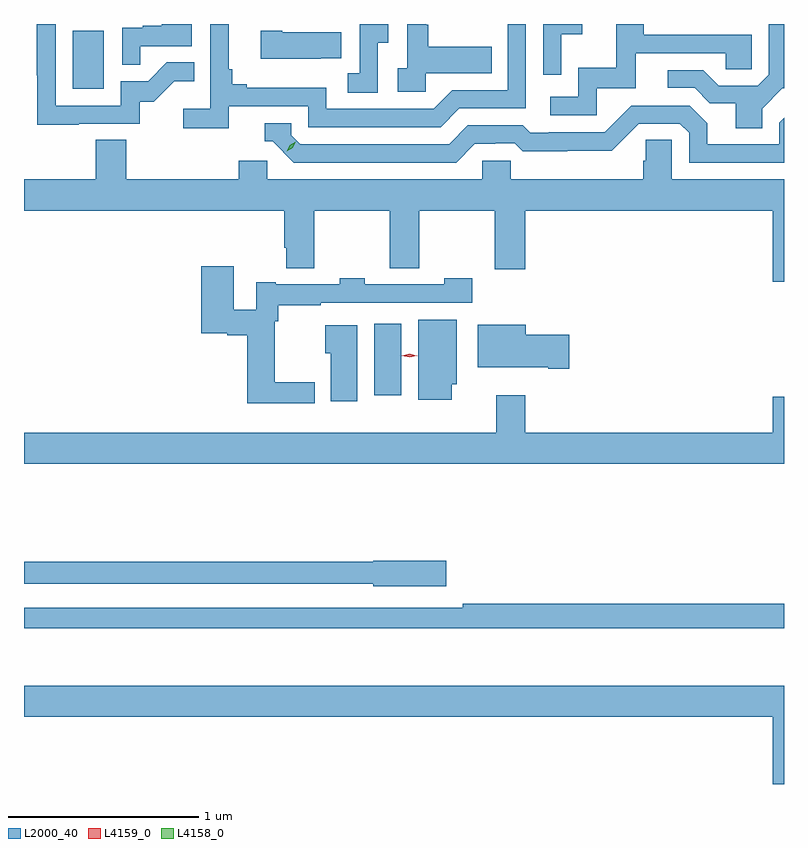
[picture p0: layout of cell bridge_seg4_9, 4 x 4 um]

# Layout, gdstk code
import gdstk
lib = gdstk.Library(unit=1e-6, precision=1e-09)
def R(c, l, rs):  # rectangles x0, y0, x1, y1
    for r in rs: c.add(gdstk.rectangle(r[:2], r[2:], *l))
def P(c, l, *ps):  # polygons
    for p in ps: c.add(gdstk.Polygon(p, *l))
L2000_40 = (2000, 40)
L4158_0 = (4158, 0)
L4159_0 = (4159, 0)

bridge_seg4_9 = lib.new_cell('bridge_seg4_9')
R(bridge_seg4_9, L2000_40, [(894.179,798.513,894.322,798.889), (892.592,800.124,892.756,800.431)])
P(bridge_seg4_9, L2000_40, [(893.414,800.034),(893.832,800.034),(893.832,799.923),(894.529,799.923),(894.628,800.022),(894.978,800.022),(894.978,800.466),(894.882,800.466),(894.882,800.118),(894.591,800.118),(894.492,800.019),(893.928,800.019),(893.928,800.131),(893.509,800.131),(893.509,800.15),(893.432,800.15),(893.432,800.227),(893.413,800.227),(893.413,800.466),(893.316,800.466),(893.316,800.02),(893.175,800.02),(893.175,799.918),(893.414,799.918)],
  [(892.625,799.941),(892.944,799.941),(892.944,800.058),(893.02,800.058),(893.127,800.165),(893.231,800.165),(893.231,800.264),(893.087,800.264),(892.989,800.166),(892.845,800.166),(892.845,800.037),(892.503,800.037),(892.503,800.466),(892.402,800.466),(892.402,800.197),(892.407,800.197),(892.407,799.936),(892.625,799.936)],
  [(892.949,800.349),(893.218,800.349),(893.218,800.466),(893.06,800.466),(893.06,800.458),(892.961,800.458),(892.961,800.445),(892.854,800.445),(892.854,800.251),(892.949,800.251)],
  [(896.221,800.02),(896.328,800.127),(896.336,800.127),(896.336,800.466),(896.256,800.466),(896.256,800.199),(896.199,800.142),(895.993,800.142),(895.912,800.223),(895.725,800.223),(895.725,800.13),(895.866,800.13),(895.946,800.05),(896.081,800.05),(896.081,799.918),(896.221,799.918)],
  [(894.198,800.368),(894.253,800.368),(894.253,800.466),(894.102,800.466),(894.102,800.207),(894.039,800.207),(894.039,800.104),(894.198,800.104)],
  [(894.45,800.207),(894.797,800.207),(894.797,800.347),(894.463,800.347),(894.463,800.462),(894.453,800.462),(894.453,800.466),(894.354,800.466),(894.354,800.234),(894.303,800.234),(894.303,800.109),(894.45,800.109)],
  [(895.164,800.411),(895.274,800.411),(895.274,800.466),(895.068,800.466),(895.068,800.199),(895.164,800.199)],
  [(895.35,800.127),(895.555,800.127),(895.555,800.313),(896.029,800.313),(896.029,800.229),(896.166,800.229),(896.166,800.409),(895.597,800.409),(895.597,800.466),(895.453,800.466),(895.453,800.236),(895.254,800.236),(895.254,800.082),(895.107,800.082),(895.107,799.986),(895.35,799.986)],
  [(893.897,800.285),(894.005,800.285),(894.005,800.422),(893.695,800.422),(893.695,800.43),(893.583,800.43),(893.583,800.282),(893.897,800.282)],
  [(894.709,799.836),(894.816,799.836),(894.816,799.839),(894.919,799.839),(894.961,799.797),(895.194,799.797),(895.194,799.799),(895.43,799.799),(895.572,799.941),(895.788,799.941),(895.836,799.893),(895.836,799.737),(896.336,799.737),(896.336,799.973),(896.31,799.947),(896.31,799.833),(895.933,799.833),(895.933,799.943),(895.839,800.037),(895.533,800.037),(895.392,799.896),(895.099,799.896),(895.099,799.893),(895,799.893),(894.961,799.932),(894.672,799.932),(894.573,799.833),(893.79,799.833),(893.742,799.881),(893.742,799.944),(893.603,799.944),(893.603,799.848),(893.646,799.848),(893.757,799.737),(894.61,799.737)],
  [(896.336,799.648),(895.746,799.648),(895.746,799.856),(895.609,799.856),(895.609,799.746),(895.595,799.746),(895.595,799.648),(894.897,799.648),(894.897,799.746),(894.747,799.746),(894.747,799.648),(893.616,799.648),(893.616,799.746),(893.465,799.746),(893.465,799.648),(892.874,799.648),(892.874,799.856),(892.714,799.856),(892.714,799.648),(892.336,799.648),(892.336,799.484),(893.705,799.484),(893.705,799.288),(893.717,799.288),(893.717,799.18),(893.864,799.18),(893.864,799.484),(894.262,799.484),(894.262,799.18),(894.416,799.18),(894.416,799.484),(894.814,799.484),(894.814,799.176),(894.974,799.176),(894.974,799.484),(896.276,799.484),(896.276,799.11),(896.336,799.11)],
  [(893.866,798.58),(893.656,798.58),(893.656,798.902),(893.675,798.902),(893.675,798.987),(893.897,798.987),(893.897,798.999),(894.694,798.999),(894.694,799.128),(894.549,799.128),(894.549,799.095),(894.129,799.095),(894.129,799.128),(893.997,799.128),(893.997,799.095),(893.662,799.095),(893.662,799.108),(893.559,799.108),(893.559,798.962),(893.44,798.962),(893.44,799.192),(893.27,799.192),(893.27,798.839),(893.406,798.839),(893.406,798.827),(893.51,798.827),(893.51,798.47),(893.866,798.47)],
  [(894.586,798.57),(894.613,798.57),(894.613,798.91),(894.41,798.91),(894.41,798.488),(894.586,798.488)],
  [(895.207,798.83),(894.976,798.83),(894.976,798.883),(894.725,798.883),(894.725,798.659),(895.094,798.659),(895.094,798.652),(895.207,798.652)],
  [(894.091,798.88),(893.921,798.88),(893.921,798.733),(893.951,798.733),(893.951,798.48),(894.091,798.48)],
  [(896.336,798.505),(896.276,798.505),(896.276,798.316),(894.974,798.316),(894.974,798.511),(894.821,798.511),(894.821,798.316),(892.336,798.316),(892.336,798.152),(896.336,798.152)],
  [(894.559,797.642),(894.174,797.642),(894.174,797.636),(892.336,797.636),(892.336,797.52),(894.174,797.52),(894.174,797.507),(894.559,797.507)],
  [(896.336,797.414),(894.646,797.414),(894.646,797.394),(892.336,797.394),(892.336,797.286),(896.336,797.286)],
  [(896.336,796.984),(892.336,796.984),(892.336,796.82),(896.276,796.82),(896.276,796.466),(896.336,796.466)])
P(bridge_seg4_9, L4158_0, [(893.718,799.796),(893.718,799.796),(893.735,799.828),(893.766,799.846),(893.766,799.846),(893.766,799.846),(893.75,799.814),(893.719,799.796)])
P(bridge_seg4_9, L4159_0, [(894.365,798.711),(894.325,798.721),(894.325,798.721),(894.325,798.721),(894.365,798.731),(894.404,798.721),(894.405,798.721),(894.404,798.72)])

lib.write_gds('bridge_seg4_9.gds')
